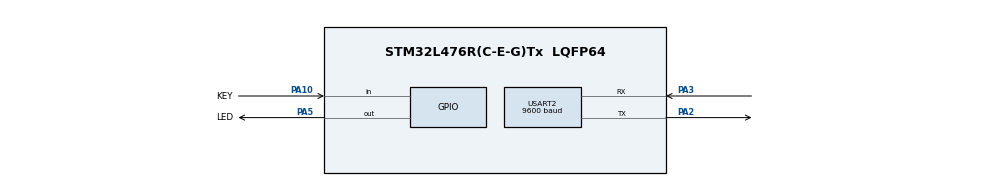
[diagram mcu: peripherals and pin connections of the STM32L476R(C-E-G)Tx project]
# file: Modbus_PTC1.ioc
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Mcu.Family=STM32L4
Mcu.Name=STM32L476R(C-E-G)Tx
Mcu.Package=LQFP64
NVIC.PriorityGroup=NVIC_PRIORITYGROUP_4
NVIC.USART2_IRQn=true\:0\:0\:false\:false\:true\:true\:true\:true
PA10.GPIO_Label=KEY
PA10.GPIO_PuPd=GPIO_PULLUP
PA10.Signal=GPIO_Input
PA13\ (JTMS-SWDIO).Mode=Serial_Wire
PA13\ (JTMS-SWDIO).Signal=SYS_JTMS-SWDIO
PA14\ (JTCK-SWCLK).Mode=Serial_Wire
PA14\ (JTCK-SWCLK).Signal=SYS_JTCK-SWCLK
PA2.Mode=Asynchronous
PA2.Signal=USART2_TX
PA3.Mode=Asynchronous
PA3.Signal=USART2_RX
PA5.GPIO_Label=LED
PA5.Signal=GPIO_Output
ProjectManager.HeapSize=0x200
ProjectManager.StackSize=0x400
ProjectManager.TargetToolchain=STM32CubeIDE
RCC.HSE_VALUE=8000000
RCC.HSI_VALUE=16000000
RCC.LSE_VALUE=32768
RCC.MSI_VALUE=4000000
RCC.VCOOutputFreq_Value=32000000
USART2.BaudRate=9600
USART2.VirtualMode-Asynchronous=VM_ASYNC
USART2.WordLength=WORDLENGTH_8B
board=custom

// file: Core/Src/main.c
/* USER CODE BEGIN Header */
/**
  ******************************************************************************
  * @file           : main.c
  * @brief          : Main program body
  ******************************************************************************
  * @attention
  *
  * Copyright (c) 2022 STMicroelectronics.
  * All rights reserved.
  *
  * This software is licensed under terms that can be found in the LICENSE file
  * in the root directory of this software component.
  * If no LICENSE file comes with this software, it is provided AS-IS.
  *
  ******************************************************************************
  */
/* USER CODE END Header */
#include "main.h"

/* USER CODE BEGIN Includes */
#include <stdio.h>
#include <stdint.h>
#include <stdbool.h>
#include "serial.h"
#include <string.h>
/* USER CODE END Includes */

 UART_HandleTypeDef huart2;

/* USER CODE BEGIN PV */

typedef enum{S_IDLE, S_ADDRESS, S_FUNCTION_DATA, S_FUNCTION_OK, S_FUNCTION_FAIL, S_WAIT_EOF, S_UNKNOWN_FUNCTION, S_CRC_CHECK1, S_CRC_CHECK2, S_CRC_ERROR} SM_STATE;

/* USER CODE END PV */

void SystemClock_Config(void);
static void MX_GPIO_Init(void);
static void MX_USART2_UART_Init(void);
/* USER CODE BEGIN PFP */

char test_read_payload[4] = {0xAA, 0xAA, 0xAA, 0xAA};
char test_write_payload[6] = {0xBB, 0xBB, 0xBB, 0xBB, 0xBB, 0xBB};

/* USER CODE END PFP */

/* USER CODE BEGIN 0 */

char function_to_execute;
int expected_length;
uint16_t self_crc = 0xFFFF;
char pom_komunikat[] = "Wykryto nieoczekiwany koniec ramki";
//char pom_komunikat2[] = "Niezgodnosc odebranego CRC z wyliczonym";
void maszyna_stanu(char ch, bool koniec_ramki)
{
	static SM_STATE stan = S_IDLE;
	static char payload[252];
	static int payload_counter = 0;
	static char self_address = 0x11;
	static char pom_crc1;
	if(koniec_ramki && stan != S_WAIT_EOF && stan != S_CRC_CHECK2)
	{
		stan = S_WAIT_EOF;
		HAL_UART_Transmit(&huart2, (uint8_t*)pom_komunikat, strlen(pom_komunikat), HAL_MAX_DELAY);
		payload_counter = 0;
		memset(payload, 0, 255 * sizeof(int));
		function_to_execute = 0x00;
	}
	switch(stan)
	{
		case S_IDLE:
			if(ch == self_address)
			{
				self_crc = 0xFFFF;
				stan = S_ADDRESS;
				crc16_update(&self_crc, ch);
			}
			else
			{
				stan = S_WAIT_EOF;
			}
			break;

		case S_WAIT_EOF:
			if(koniec_ramki)
			{
				stan = S_IDLE;
			}
			break;
		case S_ADDRESS:
			if(ch == 0x02)
			{
				function_to_execute = 0x02;
				expected_length = 4;
				stan = S_FUNCTION_DATA;
			}
			else if(ch == 0x05)
			{
				function_to_execute = 0x05;
				expected_length = 6;
				stan = S_FUNCTION_DATA;
			}
			else
			{
				stan = S_UNKNOWN_FUNCTION;
			}
			crc16_update(&self_crc, ch);
			break;

		case S_UNKNOWN_FUNCTION:
			self_crc = 0xFFFF;
			put_tx(self_address);
			crc16_update(&self_crc, self_address);

			put_tx(0x82);
			crc16_update(&self_crc, 0x82);

			put_tx(0x01);
			crc16_update(&self_crc, 0x01);

			uint8_t crc2  = (uint8_t) (self_crc & 0x00FF);
			uint8_t crc1  = (uint8_t) (self_crc >> 8 & 0x00FF);

			put_tx(crc1);
			put_tx(crc2);
			stan = S_WAIT_EOF;
			break;

		case S_FUNCTION_DATA:
			payload[payload_counter++] = ch;
			crc16_update(&self_crc, ch);
			if(payload_counter == expected_length)
			{
				stan = S_CRC_CHECK1;
				payload_counter = 0;
			}
			break;
		case S_CRC_CHECK1:
			pom_crc1 = ch;
			stan = S_CRC_CHECK2;
			break;
		case S_CRC_CHECK2:
			if (self_crc != ((pom_crc1 << 8) | (ch & 0xFF)))
			{
				stan = S_FUNCTION_FAIL;
			}
			else
			{
				if(function_to_execute == 0x02)
				{
					for(int i = 0; i < expected_length; i++)
					{
						if(payload[i] != test_read_payload[i])
						{
							stan = S_FUNCTION_FAIL;
						}
					}
					if(stan != S_FUNCTION_FAIL)
					{
						self_crc = 0xFFFF;
						put_tx(self_address);
						crc16_update(&self_crc, self_address);

						put_tx(0x02);
						crc16_update(&self_crc, 0x82);

						put_tx(0xAA);
						crc16_update(&self_crc, 0xAA);

						put_tx(0xAA);
						crc16_update(&self_crc, 0xAA);

						uint8_t crc2  = (uint8_t) (self_crc & 0x00FF);
						uint8_t crc1  = (uint8_t) (self_crc >> 8 & 0x00FF);

						put_tx(crc1);
						put_tx(crc2);
						//stan = S_FUNCTION_OK;
					}
					//stan = S_IDLE;
				}
				else if(function_to_execute == 0x05)
				{
					for(int i = 0; i < expected_length; i++)
					{
						if(payload[i] != test_write_payload[i])
						{
							stan = S_FUNCTION_FAIL;
						}
					}
					if(stan != S_FUNCTION_FAIL)
					{
						self_crc = 0xFFFF;
						put_tx(self_address);
						crc16_update(&self_crc, self_address);

						put_tx(0x02);
						crc16_update(&self_crc, 0x82);

						put_tx(0xBB);
						crc16_update(&self_crc, 0xBB);

						put_tx(0xBB);
						crc16_update(&self_crc, 0xBB);

						uint8_t crc2  = (uint8_t) (self_crc & 0x00FF);
						uint8_t crc1  = (uint8_t) (self_crc >> 8 & 0x00FF);

						put_tx(crc1);
						put_tx(crc2);
						//stan = S_FUNCTION_OK;
					}
					//stan = S_IDLE;
				}
			}
			if(stan == S_FUNCTION_FAIL)
			{
				self_crc = 0xFFFF;
				put_tx(self_address);
				crc16_update(&self_crc, self_address);

				put_tx(0x82);
				crc16_update(&self_crc, 0x82);

				put_tx(function_to_execute);
				crc16_update(&self_crc, function_to_execute);

				uint8_t crc2  = (uint8_t) (self_crc & 0x00FF);
				uint8_t crc1  = (uint8_t) (self_crc >> 8 & 0x00FF);

				put_tx(crc1);
				put_tx(crc2);
			}
			stan = S_IDLE;
			break;
	}
}

/* USER CODE END 0 */

int main(void)
{

  /* MCU Configuration--------------------------------------------------------*/

  /* Reset of all peripherals, Initializes the Flash interface and the Systick. */
  HAL_Init();

  /* Configure the system clock */
  SystemClock_Config();

  /* Initialize all configured peripherals */
  MX_GPIO_Init();
  MX_USART2_UART_Init();
  /* USER CODE BEGIN 2 */

  	char znak;
	serial_init(&huart2);
	int pom_dlugosc_ramki = 0;
	int max = 7;
  /* USER CODE END 2 */

  /* Infinite loop */
  /* USER CODE BEGIN WHILE */
  while (1)
  {
	  while(serial_available())
	  {
		  HAL_GPIO_TogglePin(LED_GPIO_Port, LED_Pin);
		  znak = serial_read();
		  if(znak == 0x02){max = 7;}
		  if(znak == 0x05){max = 9;}
		  if(pom_dlugosc_ramki >= max)
		  {
			  maszyna_stanu(znak, true);
			  pom_dlugosc_ramki = 0;
		  }
		  else
		  {
			  maszyna_stanu(znak, false);
			  pom_dlugosc_ramki++;
		  }
	  }

    /* USER CODE END WHILE */

  }
}

void SystemClock_Config(void)
{
  RCC_OscInitTypeDef RCC_OscInitStruct = {0};
  RCC_ClkInitTypeDef RCC_ClkInitStruct = {0};

  /** Configure the main internal regulator output voltage
  */
  if (HAL_PWREx_ControlVoltageScaling(PWR_REGULATOR_VOLTAGE_SCALE1) != HAL_OK)
  {
    Error_Handler();
  }

  /** Initializes the RCC Oscillators according to the specified parameters
  * in the RCC_OscInitTypeDef structure.
  */
  RCC_OscInitStruct.OscillatorType = RCC_OSCILLATORTYPE_MSI;
  RCC_OscInitStruct.MSIState = RCC_MSI_ON;
  RCC_OscInitStruct.MSICalibrationValue = 0;
  RCC_OscInitStruct.MSIClockRange = RCC_MSIRANGE_6;
  RCC_OscInitStruct.PLL.PLLState = RCC_PLL_NONE;
  if (HAL_RCC_OscConfig(&RCC_OscInitStruct) != HAL_OK)
  {
    Error_Handler();
  }

  /** Initializes the CPU, AHB and APB buses clocks
  */
  RCC_ClkInitStruct.ClockType = RCC_CLOCKTYPE_HCLK|RCC_CLOCKTYPE_SYSCLK
                              |RCC_CLOCKTYPE_PCLK1|RCC_CLOCKTYPE_PCLK2;
  RCC_ClkInitStruct.SYSCLKSource = RCC_SYSCLKSOURCE_MSI;
  RCC_ClkInitStruct.AHBCLKDivider = RCC_SYSCLK_DIV1;
  RCC_ClkInitStruct.APB1CLKDivider = RCC_HCLK_DIV1;
  RCC_ClkInitStruct.APB2CLKDivider = RCC_HCLK_DIV1;

  if (HAL_RCC_ClockConfig(&RCC_ClkInitStruct, FLASH_LATENCY_0) != HAL_OK)
  {
    Error_Handler();
  }
}

static void MX_USART2_UART_Init(void)
{

  huart2.Instance = USART2;
  huart2.Init.BaudRate = 9600;
  huart2.Init.WordLength = UART_WORDLENGTH_8B;
  huart2.Init.StopBits = UART_STOPBITS_1;
  huart2.Init.Parity = UART_PARITY_NONE;
  huart2.Init.Mode = UART_MODE_TX_RX;
  huart2.Init.HwFlowCtl = UART_HWCONTROL_NONE;
  huart2.Init.OverSampling = UART_OVERSAMPLING_16;
  huart2.Init.OneBitSampling = UART_ONE_BIT_SAMPLE_DISABLE;
  huart2.AdvancedInit.AdvFeatureInit = UART_ADVFEATURE_NO_INIT;
  if (HAL_UART_Init(&huart2) != HAL_OK)
  {
    Error_Handler();
  }

}

static void MX_GPIO_Init(void)
{
  GPIO_InitTypeDef GPIO_InitStruct = {0};

  /* GPIO Ports Clock Enable */
  __HAL_RCC_GPIOA_CLK_ENABLE();

  /*Configure GPIO pin Output Level */
  HAL_GPIO_WritePin(LED_GPIO_Port, LED_Pin, GPIO_PIN_RESET);

  /*Configure GPIO pin : LED_Pin */
  GPIO_InitStruct.Pin = LED_Pin;
  GPIO_InitStruct.Mode = GPIO_MODE_OUTPUT_PP;
  GPIO_InitStruct.Pull = GPIO_NOPULL;
  GPIO_InitStruct.Speed = GPIO_SPEED_FREQ_LOW;
  HAL_GPIO_Init(LED_GPIO_Port, &GPIO_InitStruct);

  /*Configure GPIO pin : KEY_Pin */
  GPIO_InitStruct.Pin = KEY_Pin;
  GPIO_InitStruct.Mode = GPIO_MODE_INPUT;
  GPIO_InitStruct.Pull = GPIO_PULLUP;
  HAL_GPIO_Init(KEY_GPIO_Port, &GPIO_InitStruct);

}

void Error_Handler(void)
{
  __disable_irq();
  while (1)
  {
  }
}
